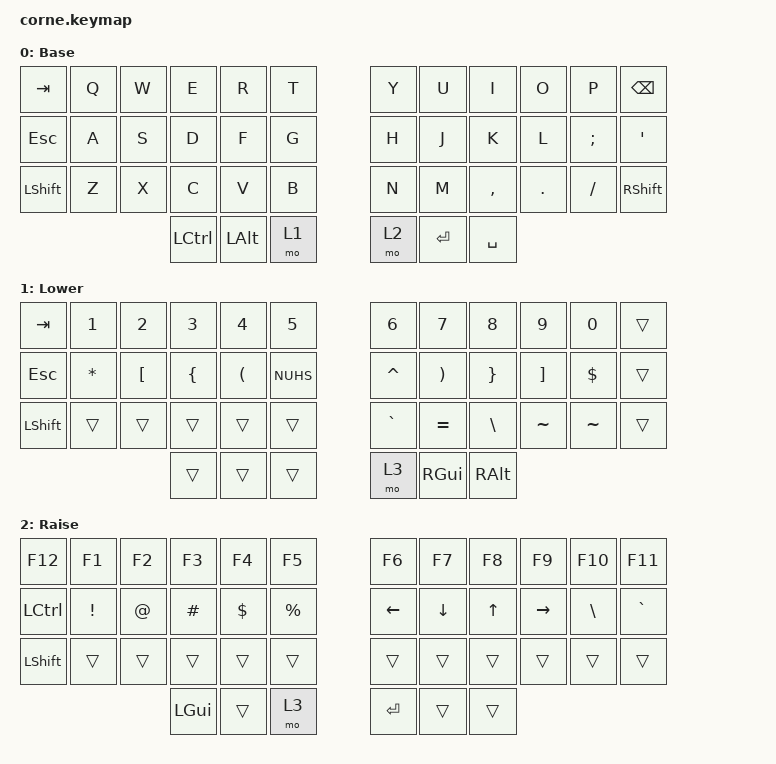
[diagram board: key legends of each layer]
/*
 * Copyright (c) 2020 The ZMK Contributors
 *
 * SPDX-License-Identifier: MIT
 */

#include <behaviors.dtsi>
#include <dt-bindings/zmk/keys.h>
#include <dt-bindings/zmk/bt.h>

/ {
        keymap {
                compatible = "zmk,keymap";

                default_layer {
// -----------------------------------------------------------------------------------------
// |  TAB |  Q  |  W  |  E  |  R  |  T  |   |  Y  |  U   |  I  |  O  |  P  | BKSP |
// |  ESC |  A  |  S  |  D  |  F  |  G  |   |  H  |  J   |  K  |  L  |  ;  | SQT  |
// | SHFT |  Z  |  X  |  C  |  V  |  B  |   |  N  |  M   |  ,  |  .  |  /  | SHFT |
//                    | CTL | ALT | LWR |   | RSE | RET  | SPC |
                        label = "Base";
                        bindings = <
   &kp TAB   &kp Q &kp W &kp E &kp R &kp T   &kp Y &kp U  &kp I     &kp O   &kp P    &kp BSPC
   &kp ESC   &kp A &kp S &kp D &kp F &kp G   &kp H &kp J  &kp K     &kp L   &kp SEMI &kp SQT
   &kp LSHFT &kp Z &kp X &kp C &kp V &kp B   &kp N &kp M  &kp COMMA &kp DOT &kp FSLH &kp RSHFT
                   &kp LCTRL &kp LALT &mo 1  &mo 2 &kp RET &kp SPACE
                        >;
                };

                lower_layer {
// -----------------------------------------------------------------------------------------
// |  TAB |  1  |  2  |  3  |  4  |  5  |   |  6  |  7  |  8  |  9  |  0  |     |
// |  ESC |  *  |  [  |  {  |  (  |  #  |   |  ^  |  )  |  }  |  ]  |  $  |     |
// | SHFT |     |     |     |     |     |   |  ~  |  =  |  -  |  \  |  ~  |     |
//                    |     |     |     |   | LYR3| GUI | ALT |
                        label = "Lower";
                        bindings = <
   &kp TAB     &kp N1    &kp N2    &kp N3    &kp N4    &kp N5         &kp N6    &kp N7    &kp N8   &kp N9    &kp N0    &trans
   &kp ESC     &kp STAR  &kp LBKT  &kp LBRC  &kp LPAR  &kp NUHS       &kp CARET &kp RPAR  &kp RBRC &kp RBKT  &kp DLLR  &trans
   &kp LSHIFT  &trans    &trans    &trans    &trans    &trans         &kp GRAVE &kp EQUAL &kp BSLH &kp TILDE &kp TILDE &trans
                                   &trans    &trans    &trans         &mo 3     &kp RGUI  &kp RALT
                        >;
                };

                raise_layer {
// -----------------------------------------------------------------------------------------
// | F12  |  F1 |  F2 |  F3 |  F4 |  F5 |   | F6  | F7  |  F8 | F9  | F10 | F11  |
// | CTRL |  !  |  @  |  #  |  $  |  %  |   | LFT | DWN |  UP | RGT |  \  |  `   |
// | SHFT |     |     |     |     |     |   |     |     |     |     |     |      |
//                    | GUI |     | LYR3|   | ENT |     | TAP |
                        label = "Raise";
                        bindings = <
   &kp F12   &kp F1   &kp F2 &kp F3   &kp F4   &kp F5         &kp F6    &kp F7    &kp F8   &kp F9    &kp F10  &kp F11
   &kp LCTRL &kp EXCL &kp AT &kp HASH &kp DLLR &kp PRCNT      &kp LEFT  &kp DOWN  &kp UP   &kp RIGHT &kp BSLH &kp GRAVE
   &kp LSHFT &trans   &trans &trans   &trans   &trans         &trans    &trans    &trans   &trans    &trans   &trans
                    	       &kp LGUI &trans   &mo 3          &kp RET   &trans    &trans
                        >;
                };
        };


  other_layer {
// -----------------------------------------------------------------------------------------
// |BTCLR | BT1 | BT2 | BT3 | BT4 | BT5 |   |     |     |     |     |     |      |
// |      |     |     |     |     |     |   |PREV |VDWN | VUP |NEXT |     |      |
// |      |     |     |     |     |     |   |     |     |     |     |     |      |
//                    |     |     |     |   |     |     |     |
                        label = "Other";
                        bindings = <
   &bt BT_CLR &bt BT_SEL 0 &bt BT_SEL 1 &bt BT_SEL 2 &bt BT_SEL 3 &bt BT_SEL 4      &trans      &trans        &trans        &trans      &trans &trans
   &trans     &trans       &trans       &trans       &trans       &trans            &kp C_PREV  &kp C_VOL_DN  &kp C_VOL_UP  &kp C_NEXT  &trans &trans
   &trans     &trans       &trans       &trans       &trans       &trans            &trans      &trans        &trans        &trans      &trans &trans
                    	                  &trans       &trans       &trans            &trans      &trans        &trans
                        >;
                };


  };
};
